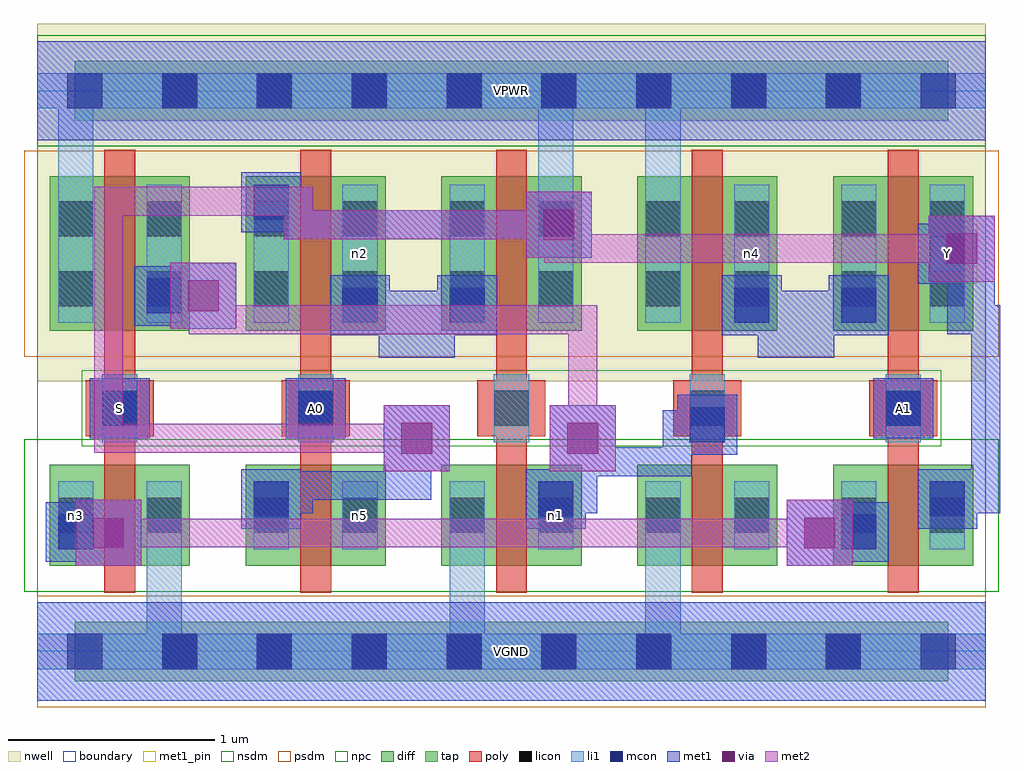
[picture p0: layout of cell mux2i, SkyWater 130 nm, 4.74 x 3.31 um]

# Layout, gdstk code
import gdstk
lib = gdstk.Library(unit=1e-6, precision=1e-09)
def R(c, l, rs):  # rectangles x0, y0, x1, y1
    for r in rs: c.add(gdstk.rectangle(r[:2], r[2:], *l))
def A(c, l, x, y, w, h, nx, ny, dx, dy):  # array of equal rectangles
    R(c, l, [(x+i*dx, y+j*dy, x+i*dx+w, y+j*dy+h) for i in range(nx) for j in range(ny)])
nwell = (64, 20)
diff = (65, 20)
tap = (65, 44)
poly = (66, 20)
licon = (66, 44)
li1 = (67, 20)
mcon = (67, 44)
met1_pin = (68, 16)
met1 = (68, 20)
via = (68, 44)
met2 = (69, 20)
nsdm = (93, 44)
psdm = (94, 20)
npc = (95, 20)
boundary = (235, 4)

mux2i = lib.new_cell('mux2i')
R(mux2i, nwell, [(0,1.31,4.6,3.045)])
A(mux2i, diff, 0.06, 0.415, 0.68, 0.49, 5, 1, 0.95, 0)
A(mux2i, diff, 0.06, 1.555, 0.68, 0.75, 5, 1, 0.95, 0)
R(mux2i, tap, [(0.18,-0.145,4.42,0.145), (0.18,2.575,4.42,2.865)])
A(mux2i, poly, 0.325, 0.285, 0.15, 2.15, 5, 1, 0.95, 0)
A(mux2i, poly, 0.235, 1.045, 0.33, 0.27, 5, 1, 0.95, 0)
A(mux2i, licon, 0.605, -0.085, 0.17, 0.17, 8, 2, 0.46, 2.72)
A(mux2i, licon, 0.315, 1.095, 0.17, 0.17, 5, 1, 0.95, 0)
R(mux2i, licon, [(0.1,0.575,0.27,0.745), (0.53,0.575,0.7,0.745), (1.05,0.575,1.22,0.745), (1.48,0.575,1.65,0.745), (2,0.575,2.17,0.745), (2.43,0.575,2.6,0.745), (2.95,0.575,3.12,0.745), (3.38,0.575,3.55,0.745), (3.9,0.575,4.07,0.745), (4.33,0.575,4.5,0.745), (0.1,1.675,0.27,1.845), (0.53,1.675,0.7,1.845), (1.05,1.675,1.22,1.845), (1.48,1.675,1.65,1.845), (2,1.675,2.17,1.845), (2.43,1.675,2.6,1.845), (2.95,1.675,3.12,1.845), (3.38,1.675,3.55,1.845), (3.9,1.675,4.07,1.845), (4.33,1.675,4.5,1.845), (0.1,2.015,0.27,2.185), (0.53,2.015,0.7,2.185), (1.05,2.015,1.22,2.185), (1.48,2.015,1.65,2.185), (2,2.015,2.17,2.185), (2.43,2.015,2.6,2.185), (2.95,2.015,3.12,2.185), (3.38,2.015,3.55,2.185), (3.9,2.015,4.07,2.185), (4.33,2.015,4.5,2.185)])
A(mux2i, li1, 0.315, 1.015, 0.17, 0.33, 5, 1, 0.95, 0)
R(mux2i, li1, [(0,-0.085,4.6,0.085), (0.53,-0.085,0.7,0.825), (2,-0.085,2.17,0.825), (2.95,-0.085,3.12,0.825), (0.1,0.495,0.27,0.825), (0.53,0.495,0.7,0.825), (1.05,0.495,1.22,0.825), (1.48,0.495,1.65,0.825), (2,0.495,2.17,0.825), (2.43,0.495,2.6,0.825), (2.95,0.495,3.12,0.825), (3.38,0.495,3.55,0.825), (3.9,0.495,4.07,0.825), (4.33,0.495,4.5,0.825), (0.1,1.595,0.27,2.265), (0.1,1.595,0.27,2.805), (0.53,1.595,0.7,2.265), (1.05,1.595,1.22,2.265), (1.48,1.595,1.65,2.265), (2,1.595,2.17,2.265), (2.43,1.595,2.6,2.265), (2.43,1.595,2.6,2.805), (2.95,1.595,3.12,2.265), (2.95,1.595,3.12,2.805), (3.38,1.595,3.55,2.265), (3.9,1.595,4.07,2.265), (4.33,1.595,4.5,2.265), (0,2.635,4.6,2.805)])
A(mux2i, mcon, 0.145, -0.085, 0.17, 0.17, 10, 2, 0.46, 2.72)
R(mux2i, mcon, [(0.1,0.495,0.27,0.665), (3.9,0.495,4.07,0.665), (1.05,0.655,1.22,0.825), (2.43,0.655,2.6,0.825), (4.33,0.655,4.5,0.825), (3.165,1.015,3.335,1.185), (0.315,1.095,0.485,1.265), (1.265,1.095,1.435,1.265), (4.115,1.095,4.285,1.265), (1.48,1.595,1.65,1.765), (2,1.595,2.17,1.765), (3.38,1.595,3.55,1.765), (3.9,1.595,4.07,1.765), (0.53,1.64,0.7,1.81), (4.33,1.845,4.5,2.015), (1.05,2.095,1.22,2.265)])
R(mux2i, met1_pin, [(0,-0.24,4.6,0.24), (0.255,1.035,0.545,1.325), (1.205,1.035,1.495,1.325), (4.055,1.035,4.345,1.325), (4.27,1.785,4.56,2.075), (0,2.48,4.6,2.96)])
R(mux2i, met1, [(0,-0.24,4.6,0.24), (0.185,0.415,0.505,0.735), (3.635,0.415,3.955,0.735), (0.04,0.435,0.33,0.725), (3.84,0.435,4.13,0.725), (0.275,0.505,0.415,0.65), (3.725,0.505,3.865,0.65), (0.115,0.51,0.415,0.65), (3.725,0.51,4.055,0.65), (0.99,0.595,1.28,0.885), (2.37,0.595,2.66,0.885), (4.27,0.595,4.56,0.885), (1.065,0.67,1.335,0.81), (1.195,0.67,1.335,0.875), (2.445,0.67,2.715,0.81), (2.575,0.67,2.715,0.99), (4.345,0.67,4.67,0.81), (4.53,0.67,4.67,0.99), (1.195,0.735,1.91,0.875), (1.77,0.735,1.91,1.105), (2.485,0.81,2.715,0.875), (2.575,0.85,3.175,0.99), (2.575,0.85,2.715,1.105), (3.035,0.85,3.175,1.17), (4.53,0.85,4.67,1.68), (1.68,0.875,2,1.195), (2.485,0.875,2.805,1.195), (3.105,0.955,3.395,1.245), (3.035,1.03,3.32,1.17), (0.255,1.035,0.545,1.325), (1.205,1.035,1.495,1.325), (4.055,1.035,4.345,1.325), (1.655,1.425,1.795,1.75), (1.655,1.425,2.025,1.565), (1.795,1.425,1.885,1.75), (1.885,1.425,2.025,1.75), (3.495,1.425,3.635,1.75), (3.495,1.425,3.865,1.565), (3.635,1.425,3.725,1.75), (3.725,1.425,3.865,1.75), (1.42,1.535,1.71,1.825), (1.94,1.535,2.23,1.825), (3.32,1.535,3.61,1.825), (3.61,1.535,3.725,1.75), (3.84,1.535,4.13,1.825), (4.415,1.54,4.555,2.025), (4.415,1.54,4.67,1.68), (0.645,1.565,0.965,1.885), (0.47,1.58,0.76,1.87), (1.495,1.61,1.795,1.75), (1.795,1.61,1.885,1.75), (1.885,1.61,2.155,1.75), (3.395,1.61,3.635,1.75), (3.61,1.61,3.725,1.75), (3.635,1.61,3.725,1.75), (3.725,1.61,4.055,1.75), (0.545,1.655,0.875,1.795), (4.415,1.68,4.56,1.785), (4.415,1.68,4.645,1.795), (4.53,1.68,4.56,1.785), (4.53,1.68,4.645,1.795), (4.27,1.785,4.56,2.075), (4.325,1.795,4.645,2.115), (4.415,1.885,4.555,2.025), (2.37,1.91,2.69,2.23), (1.195,2,1.335,2.255), (1.195,2,2.6,2.14), (0.99,2.035,1.28,2.325), (1.065,2.11,1.335,2.25), (1.195,2.11,1.335,2.255), (0,2.48,4.6,2.96)])
R(mux2i, via, [(0.27,0.5,0.42,0.65), (3.72,0.5,3.87,0.65), (1.765,0.96,1.915,1.11), (2.57,0.96,2.72,1.11), (0.73,1.65,0.88,1.8), (4.41,1.88,4.56,2.03), (2.455,1.995,2.605,2.145)])
R(mux2i, met2, [(0.185,0.415,0.505,0.735), (3.635,0.415,3.955,0.735), (0.275,0.505,3.865,0.645), (1.68,0.875,2,1.195), (2.485,0.875,2.805,1.195), (0.275,0.965,0.415,2.255), (0.275,0.965,1.91,1.105), (2.575,0.965,2.715,1.68), (0.735,1.54,2.715,1.68), (0.735,1.54,0.875,1.795), (0.645,1.565,0.965,1.885), (4.325,1.795,4.645,2.115), (2.46,1.885,2.6,2.14), (2.46,1.885,4.555,2.025), (2.37,1.91,2.69,2.23), (1.195,2,1.335,2.255), (1.195,2,2.6,2.14), (0.275,2.115,1.335,2.255)])
R(mux2i, nsdm, [(-0.065,0.29,4.665,1.03), (0,2.45,4.6,2.99)])
R(mux2i, psdm, [(0,-0.27,4.6,0.27), (-0.065,1.43,4.665,2.43)])
R(mux2i, npc, [(0.215,0.995,4.385,1.365)])
R(mux2i, boundary, [(0,0,4.6,2.72)])
mux2i.add(gdstk.Label('n3', (0.185,0.66), layer=67, texttype=5))
mux2i.add(gdstk.Label('n5', (1.565,0.66), layer=67, texttype=5))
mux2i.add(gdstk.Label('n1', (2.515,0.66), layer=67, texttype=5))
mux2i.add(gdstk.Label('n2', (1.565,1.93), layer=67, texttype=5))
mux2i.add(gdstk.Label('n4', (3.465,1.93), layer=67, texttype=5))
mux2i.add(gdstk.Label('S', (0.4,1.18), layer=68, texttype=5))
mux2i.add(gdstk.Label('A0', (1.35,1.18), layer=68, texttype=5))
mux2i.add(gdstk.Label('A1', (4.2,1.18), layer=68, texttype=5))
mux2i.add(gdstk.Label('Y', (4.415,1.93), layer=68, texttype=5))
mux2i.add(gdstk.Label('VPWR', (2.3,2.72), layer=68, texttype=5))
mux2i.add(gdstk.Label('VGND', (2.3,0), layer=68, texttype=5))
mux2i.add(gdstk.Label('S', (0.4,1.18), layer=68, texttype=16))
mux2i.add(gdstk.Label('A0', (1.35,1.18), layer=68, texttype=16))
mux2i.add(gdstk.Label('A1', (4.2,1.18), layer=68, texttype=16))
mux2i.add(gdstk.Label('Y', (4.415,1.93), layer=68, texttype=16))
mux2i.add(gdstk.Label('VPWR', (2.3,2.72), layer=68, texttype=16))
mux2i.add(gdstk.Label('VGND', (2.3,0), layer=68, texttype=16))

lib.write_gds('mux2i.gds')
